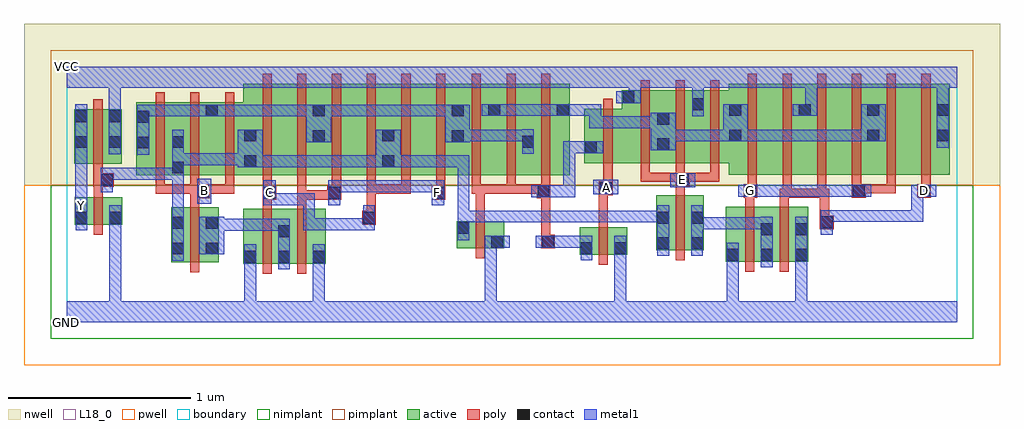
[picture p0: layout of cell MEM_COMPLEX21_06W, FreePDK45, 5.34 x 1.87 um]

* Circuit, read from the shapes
.subckt MEM_COMPLEX21_06W A B C D E F G GND VCC Y
M1 GND n1 Y VSUBS nfet w=0.15u l=0.05u
M2 n2 B n1 VSUBS nfet w=0.3u l=0.05u
M3 n2 C GND VSUBS nfet w=0.3u l=0.05u
M4 GND F n2 VSUBS nfet w=0.3u l=0.05u
M5 GND n3 n1 VSUBS nfet w=0.15u l=0.05u
M6 GND A n3 VSUBS nfet w=0.15u l=0.05u
M7 n4 E n1 VSUBS nfet w=0.3u l=0.05u
M8 n4 G GND VSUBS nfet w=0.3u l=0.05u
M9 GND D n4 VSUBS nfet w=0.3u l=0.05u
M10 VCC n1 Y n5 pfet w=0.3u l=0.05u
M11 n1 B n6 n5 pfet w=0.4u l=0.05u m=3
M12 n7 C n1 n5 pfet w=0.5u l=0.05u
M13 n6 F n7 n5 pfet w=0.5u l=0.05u
M14 n8 F n6 n5 pfet w=0.5u l=0.05u
M15 n1 C n8 n5 pfet w=0.5u l=0.05u
M16 n9 C n1 n5 pfet w=0.5u l=0.05u
M17 n6 F n9 n5 pfet w=0.5u l=0.05u
M18 n10 n3 n6 n5 pfet w=0.5u l=0.05u m=3
M19 VCC A n3 n5 pfet w=0.3u l=0.05u
M20 n10 E VCC n5 pfet w=0.4u l=0.05u m=3
M21 n11 G n10 n5 pfet w=0.5u l=0.05u
M22 VCC D n11 n5 pfet w=0.5u l=0.05u
M23 n12 D VCC n5 pfet w=0.5u l=0.05u
M24 n10 G n12 n5 pfet w=0.5u l=0.05u
M25 n13 G n10 n5 pfet w=0.5u l=0.05u
M26 VCC D n13 n5 pfet w=0.5u l=0.05u
.ends

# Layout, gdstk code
import gdstk
lib = gdstk.Library(unit=1e-6, precision=1e-09)
def R(c, l, rs):  # rectangles x0, y0, x1, y1
    for r in rs: c.add(gdstk.rectangle(r[:2], r[2:], *l))
def A(c, l, x, y, w, h, nx, ny, dx, dy):  # array of equal rectangles
    R(c, l, [(x+i*dx, y+j*dy, x+i*dx+w, y+j*dy+h) for i in range(nx) for j in range(ny)])
active = (1, 0)
pwell = (2, 0)
nwell = (3, 0)
nimplant = (4, 0)
pimplant = (5, 0)
poly = (9, 0)
contact = (10, 0)
metal1 = (11, 0)
L18_0 = (18, 0)
boundary = (235, 0)

mem_complex21_06w = lib.new_cell('MEM_COMPLEX21_06W')
A(mem_complex21_06w, active, 1.19, 0.805, 0.225, 0.5, 3, 1, 0.38, 0)
R(mem_complex21_06w, active, [(0.965,0.322,1.225,0.622), (0.965,0.322,1.04,0.497), (1.15,0.322,1.225,0.537), (1.15,0.322,1.415,0.622), (1.34,0.322,1.415,0.497), (0.57,0.33,0.645,0.63), (0.57,0.33,0.83,0.63), (0.755,0.33,0.83,0.63), (3.605,0.332,3.68,0.632), (3.605,0.332,3.867,0.632), (3.792,0.332,4.055,0.632), (3.792,0.332,3.867,0.547), (3.98,0.332,4.055,0.632), (2.805,0.37,2.88,0.52), (2.805,0.37,3.065,0.52), (2.99,0.37,3.065,0.52), (3.225,0.395,3.3,0.695), (3.225,0.395,3.485,0.695), (3.41,0.395,3.485,0.695), (2.132,0.405,2.207,0.555), (2.132,0.405,2.392,0.555), (2.317,0.405,2.392,0.555), (0.042,0.535,0.117,0.685), (0.042,0.535,0.302,0.685), (0.227,0.535,0.302,0.685), (0.38,0.805,0.645,1.205), (0.38,0.805,0.455,1.2), (0.57,0.805,0.645,1.07), (0.57,0.805,0.83,1.205), (0.755,0.805,1.04,1.205), (0.965,0.805,1.19,1.305), (0.965,0.805,1.04,1.07), (1.34,0.805,1.57,1.305), (1.72,0.805,1.95,1.305), (2.1,0.805,2.375,1.305), (2.3,0.805,2.56,1.305), (2.485,0.805,2.75,1.305), (2.675,0.805,2.75,1.2), (1.34,0.807,1.415,1.2), (1.72,0.807,1.795,1.07), (2.1,0.807,2.175,1.2), (2.3,0.807,2.375,1.2), (2.485,0.807,2.56,1.07), (3.62,0.807,3.845,1.307), (3.845,0.807,4.075,1.307), (4,0.807,4.075,1.305), (4,0.807,4.225,1.307), (4.225,0.807,4.45,1.307), (4.375,0.807,4.605,1.307), (4.375,0.807,4.45,1.2), (4.605,0.807,4.83,1.307), (4.755,0.807,4.83,1.305), (0.04,0.867,0.3,1.167), (0.04,0.867,0.115,1.165), (0.225,0.867,0.3,1.167), (2.83,0.87,3.11,1.17), (3.035,0.87,3.3,1.27), (3.225,0.87,3.49,1.27), (3.415,0.87,3.695,1.27), (0.755,0.907,0.83,1.2), (3.225,0.907,3.3,1.2), (3.415,0.907,3.49,1.27), (3.62,0.907,3.695,1.2), (2.83,0.92,2.905,1.07), (3.035,0.995,3.11,1.27)])
R(mem_complex21_06w, pwell, [(-0.235,-0.235,5.105,0.75)])
R(mem_complex21_06w, nwell, [(-0.235,0.75,5.105,1.635)])
R(mem_complex21_06w, nimplant, [(-0.09,-0.09,4.96,0.75)])
R(mem_complex21_06w, pimplant, [(-0.09,0.75,4.96,1.49)])
A(mem_complex21_06w, poly, 0.485, 0.705, 0.05, 0.095, 3, 1, 0.19, 0)
A(mem_complex21_06w, poly, 2.215, 0.705, 0.05, 0.095, 3, 1, 0.19, 0)
A(mem_complex21_06w, poly, 4.295, 0.707, 0.05, 0.095, 3, 1, 0.19, 0)
A(mem_complex21_06w, poly, 0.485, 0.75, 0.05, 0.51, 3, 1, 0.19, 0)
A(mem_complex21_06w, poly, 1.07, 0.75, 0.05, 0.61, 6, 1, 0.19, 0)
A(mem_complex21_06w, poly, 2.215, 0.75, 0.05, 0.61, 3, 1, 0.19, 0)
A(mem_complex21_06w, poly, 3.725, 0.752, 0.05, 0.61, 6, 1, 0.19, 0)
A(mem_complex21_06w, poly, 3.14, 0.77, 0.05, 0.095, 3, 1, 0.19, 0)
A(mem_complex21_06w, poly, 3.14, 0.815, 0.05, 0.51, 3, 1, 0.19, 0)
R(mem_complex21_06w, poly, [(1.07,0.267,1.12,0.677), (1.26,0.267,1.31,0.677), (0.675,0.275,0.725,0.685), (3.71,0.277,3.76,0.687), (3.9,0.277,3.95,0.687), (2.91,0.315,2.96,0.575), (3.33,0.34,3.38,0.75), (2.237,0.35,2.287,0.61), (2.595,0.405,2.67,0.48), (2.595,0.43,2.645,0.73), (0.147,0.48,0.197,0.74), (4.12,0.51,4.195,0.585), (2.91,0.525,2.96,0.747), (1.615,0.535,1.69,0.61), (4.12,0.535,4.17,0.732), (1.64,0.56,1.69,0.61), (1.64,0.56,1.69,0.61), (1.64,0.56,1.69,0.755), (2.237,0.56,2.287,0.755), (1.07,0.627,1.12,0.722), (1.26,0.627,1.31,0.722), (0.675,0.635,0.725,0.73), (3.71,0.637,3.76,0.732), (3.9,0.637,3.95,0.732), (1.07,0.672,1.145,0.747), (1.26,0.672,1.475,0.722), (1.26,0.672,1.31,0.722), (1.26,0.672,1.31,0.722), (1.26,0.672,1.31,0.722), (1.26,0.672,1.31,0.8), (1.425,0.672,1.5,0.747), (1.995,0.672,2.07,0.747), (0.675,0.68,0.782,0.755), (2.57,0.68,2.645,0.755), (2.595,0.68,2.645,0.73), (2.595,0.68,2.645,0.73), (3.702,0.682,3.777,0.757), (3.9,0.682,3.965,0.732), (3.915,0.682,3.965,0.732), (3.915,0.682,3.965,0.732), (3.915,0.682,3.965,0.802), (3.915,0.682,4.155,0.732), (4.105,0.682,4.155,0.732), (4.105,0.682,4.155,0.732), (4.105,0.682,4.155,0.802), (4.105,0.682,4.17,0.732), (4.295,0.682,4.37,0.757), (4.652,0.682,4.727,0.757), (0.147,0.69,0.197,0.792), (1.07,0.697,1.12,0.8), (1.45,0.697,1.5,0.8), (2.02,0.697,2.07,0.8), (2.91,0.697,2.985,0.772), (3.33,0.7,3.38,0.795), (0.485,0.705,0.535,0.755), (0.485,0.705,0.535,0.755), (0.485,0.705,0.535,0.755), (0.485,0.705,0.725,0.755), (0.732,0.705,0.782,0.755), (0.732,0.705,0.782,0.755), (0.732,0.705,0.915,0.755), (0.865,0.705,0.915,0.755), (1.64,0.705,1.69,0.8), (1.64,0.705,1.69,0.755), (1.64,0.705,1.69,0.755), (1.64,0.705,1.69,0.755), (1.64,0.705,1.88,0.755), (1.83,0.705,1.88,0.8), (1.83,0.705,1.88,0.755), (2.215,0.705,2.287,0.755), (2.237,0.705,2.455,0.755), (2.405,0.705,2.62,0.755), (2.405,0.705,2.455,0.755), (2.405,0.705,2.455,0.755), (2.405,0.705,2.455,0.755), (2.57,0.705,2.62,0.755), (2.57,0.705,2.62,0.755), (3.725,0.707,3.775,0.802), (4.32,0.707,4.535,0.757), (4.32,0.707,4.37,0.757), (4.32,0.707,4.37,0.757), (4.485,0.707,4.535,0.757), (2.935,0.722,2.985,0.865), (0.145,0.742,0.255,0.817), (3.33,0.745,3.407,0.82), (0.145,0.767,0.195,0.862), (3.14,0.77,3.19,0.82), (3.14,0.77,3.19,0.82), (3.14,0.77,3.19,0.82), (3.14,0.77,3.38,0.82), (3.357,0.77,3.57,0.82), (3.52,0.77,3.57,0.82), (3.52,0.77,3.57,0.82), (3.52,0.77,3.57,0.82), (0.145,0.812,0.195,1.222), (2.935,0.815,2.985,1.225)])
R(mem_complex21_06w, contact, [(0.97,0.327,1.035,0.392), (1.155,0.327,1.22,0.392), (1.345,0.327,1.41,0.392), (3.61,0.337,3.675,0.402), (3.797,0.337,3.862,0.402), (3.985,0.337,4.05,0.402), (0.575,0.372,0.64,0.437), (0.76,0.372,0.825,0.437), (2.81,0.375,2.875,0.44), (2.995,0.375,3.06,0.44), (3.23,0.4,3.295,0.465), (3.415,0.4,3.48,0.465), (2.322,0.41,2.387,0.475), (2.6,0.41,2.665,0.475), (1.155,0.467,1.22,0.532), (3.797,0.477,3.862,0.542), (3.985,0.477,4.05,0.542), (2.137,0.485,2.202,0.55), (0.575,0.512,0.64,0.577), (0.76,0.512,0.825,0.577), (4.125,0.515,4.19,0.58), (0.047,0.54,0.112,0.605), (0.232,0.54,0.297,0.605), (1.62,0.54,1.685,0.605), (3.23,0.54,3.295,0.605), (3.415,0.54,3.48,0.605), (1.075,0.677,1.14,0.742), (1.43,0.677,1.495,0.742), (2,0.677,2.065,0.742), (0.712,0.685,0.777,0.75), (2.575,0.685,2.64,0.75), (3.707,0.687,3.772,0.752), (4.3,0.687,4.365,0.752), (4.657,0.687,4.722,0.752), (2.915,0.702,2.98,0.767), (0.185,0.747,0.25,0.812), (3.337,0.75,3.402,0.815), (0.575,0.815,0.64,0.88), (0.97,0.85,1.035,0.915), (1.725,0.85,1.79,0.915), (2.835,0.925,2.9,0.99), (3.23,0.942,3.295,1.007), (0.385,0.952,0.45,1.017), (0.045,0.955,0.11,1.02), (0.23,0.955,0.295,1.02), (0.575,0.955,0.64,1.02), (2.49,0.957,2.555,1.022), (1.345,0.987,1.41,1.052), (2.105,0.987,2.17,1.052), (0.97,0.99,1.035,1.055), (1.725,0.99,1.79,1.055), (3.625,0.99,3.69,1.055), (4.38,0.99,4.445,1.055), (4.76,0.99,4.825,1.055), (3.23,1.082,3.295,1.147), (0.385,1.092,0.45,1.157), (0.045,1.095,0.11,1.16), (0.23,1.095,0.295,1.16), (0.76,1.127,0.825,1.192), (1.345,1.127,1.41,1.192), (2.105,1.127,2.17,1.192), (2.305,1.13,2.37,1.195), (2.68,1.13,2.745,1.195), (3.625,1.13,3.69,1.195), (4.005,1.13,4.07,1.195), (4.38,1.13,4.445,1.195), (4.76,1.13,4.825,1.195), (3.42,1.162,3.485,1.227), (3.04,1.2,3.105,1.265)])
R(mem_complex21_06w, metal1, [(0,0,4.87,0.115), (0.232,0.05,0.297,0.115), (0.232,0.05,0.297,0.115), (0.232,0.05,0.297,0.115), (0.232,0.05,0.297,0.115), (0.232,0.05,0.297,0.115), (0.232,0.05,0.297,0.115), (0.232,0.05,0.297,0.57), (0.97,0.05,1.035,0.115), (0.97,0.05,1.035,0.115), (0.97,0.05,1.035,0.357), (1.345,0.05,1.41,0.115), (1.345,0.05,1.41,0.115), (1.345,0.05,1.41,0.115), (1.345,0.05,1.41,0.115), (1.345,0.05,1.41,0.357), (2.287,0.05,2.352,0.115), (2.287,0.05,2.352,0.115), (2.287,0.05,2.352,0.115), (2.287,0.05,2.352,0.115), (2.287,0.05,2.352,0.115), (2.287,0.05,2.352,0.115), (2.287,0.05,2.352,0.475), (2.995,0.05,3.06,0.115), (2.995,0.05,3.06,0.115), (2.995,0.05,3.06,0.115), (2.995,0.05,3.06,0.115), (2.995,0.05,3.06,0.115), (2.995,0.05,3.06,0.115), (2.995,0.05,3.06,0.405), (3.61,0.05,3.675,0.115), (3.61,0.05,3.675,0.115), (3.61,0.05,3.675,0.115), (3.61,0.05,3.675,0.115), (3.61,0.05,3.675,0.367), (3.985,0.05,4.05,0.115), (3.985,0.05,4.05,0.115), (3.985,0.05,4.05,0.367), (0.97,0.292,1.035,0.357), (0.97,0.292,1.035,0.357), (0.97,0.292,1.035,0.427), (1.155,0.292,1.22,0.567), (1.345,0.292,1.41,0.427), (3.61,0.302,3.675,0.437), (3.797,0.302,3.862,0.577), (3.985,0.302,4.05,0.577), (3.985,0.302,4.05,0.367), (3.985,0.302,4.05,0.367), (0.575,0.337,0.64,0.612), (2.81,0.34,2.875,0.475), (2.995,0.34,3.06,0.475), (3.23,0.365,3.295,0.64), (3.415,0.365,3.48,0.64), (0.725,0.372,0.86,0.577), (2.287,0.41,2.422,0.475), (2.565,0.41,2.7,0.475), (2.635,0.41,2.71,0.475), (2.645,0.41,2.71,0.475), (2.645,0.41,2.875,0.475), (2.137,0.45,2.202,0.612), (4.125,0.48,4.19,0.615), (0.795,0.502,0.927,0.567), (0.862,0.502,0.927,0.567), (0.862,0.502,1.082,0.567), (1.017,0.502,1.082,0.567), (1.017,0.502,1.082,0.567), (1.017,0.502,1.082,0.567), (1.017,0.502,1.22,0.567), (0.047,0.505,0.112,0.64), (0.232,0.505,0.297,0.64), (1.292,0.505,1.357,0.57), (1.292,0.505,1.357,0.707), (1.292,0.505,1.445,0.57), (1.38,0.505,1.445,0.57), (1.38,0.505,1.582,0.57), (1.517,0.505,1.582,0.57), (1.517,0.505,1.582,0.57), (1.517,0.505,1.582,0.57), (1.517,0.505,1.685,0.57), (1.62,0.505,1.685,0.64), (3.415,0.51,3.48,0.575), (3.415,0.51,3.48,0.575), (3.415,0.51,3.655,0.575), (3.59,0.51,3.655,0.575), (3.59,0.51,3.862,0.575), (3.797,0.51,3.862,0.575), (3.797,0.51,3.862,0.575), (0.575,0.547,0.64,0.845), (2.137,0.547,2.272,0.612), (2.137,0.547,2.202,0.915), (2.207,0.547,2.272,0.612), (2.207,0.547,2.41,0.612), (2.345,0.547,2.41,0.612), (2.345,0.547,2.41,0.612), (2.345,0.547,2.41,0.612), (2.345,0.547,2.572,0.612), (2.507,0.547,2.572,0.612), (2.507,0.547,2.727,0.612), (2.662,0.547,2.727,0.612), (2.662,0.547,2.727,0.612), (2.662,0.547,2.727,0.612), (2.662,0.547,2.917,0.612), (2.852,0.547,2.917,0.612), (2.852,0.547,2.917,0.612), (2.852,0.547,2.917,0.612), (2.852,0.547,3.122,0.612), (3.057,0.547,3.122,0.612), (3.057,0.547,3.122,0.612), (3.057,0.547,3.122,0.612), (3.057,0.547,3.295,0.612), (4.125,0.55,4.19,0.615), (4.125,0.55,4.19,0.615), (4.125,0.55,4.19,0.615), (4.125,0.55,4.19,0.615), (4.125,0.55,4.41,0.615), (4.345,0.55,4.41,0.615), (4.345,0.55,4.547,0.615), (4.482,0.55,4.547,0.615), (4.482,0.55,4.547,0.615), (4.482,0.55,4.547,0.615), (4.482,0.55,4.685,0.615), (4.62,0.55,4.685,0.615), (4.62,0.55,4.685,0.752), (0.045,0.572,0.112,0.707), (0.047,0.575,0.112,0.64), (0.045,0.642,0.11,0.985), (1.075,0.642,1.142,0.777), (1.077,0.642,1.22,0.707), (1.155,0.642,1.22,0.707), (1.155,0.642,1.28,0.707), (1.215,0.642,1.28,0.707), (1.215,0.642,1.357,0.707), (1.292,0.642,1.357,0.707), (1.43,0.642,1.495,0.777), (1.997,0.642,2.065,0.777), (0.712,0.65,0.79,0.787), (2.54,0.685,2.675,0.75), (2.61,0.685,2.78,0.75), (2.715,0.685,2.78,0.75), (2.715,0.685,2.78,0.99), (3.672,0.687,3.807,0.752), (3.742,0.687,3.862,0.752), (3.797,0.687,3.862,0.752), (3.797,0.687,4.052,0.752), (3.987,0.687,4.052,0.752), (3.987,0.687,4.052,0.752), (3.987,0.687,4.052,0.752), (3.987,0.687,4.19,0.752), (4.125,0.687,4.19,0.752), (4.125,0.687,4.19,0.752), (4.125,0.687,4.19,0.752), (4.125,0.687,4.33,0.752), (4.265,0.687,4.4,0.752), (4.62,0.687,4.687,0.752), (4.622,0.687,4.687,0.752), (4.622,0.687,4.757,0.752), (2.88,0.702,3.017,0.78), (0.185,0.712,0.25,0.847), (1.43,0.712,1.617,0.777), (1.552,0.712,1.617,0.777), (1.552,0.712,1.687,0.777), (1.622,0.712,1.687,0.777), (1.622,0.712,1.825,0.777), (1.76,0.712,1.825,0.777), (1.76,0.712,1.825,0.777), (1.76,0.712,1.825,0.777), (1.76,0.712,1.997,0.777), (1.932,0.712,1.997,0.777), (1.932,0.712,2.062,0.777), (3.302,0.74,3.437,0.817), (0.185,0.78,0.25,0.845), (0.185,0.78,0.25,0.845), (0.185,0.78,0.502,0.845), (0.437,0.78,0.502,0.845), (0.437,0.78,0.502,0.845), (0.437,0.78,0.502,0.845), (0.437,0.78,0.64,0.845), (0.575,0.78,0.64,1.055), (0.575,0.78,0.64,0.845), (0.575,0.78,0.64,0.845), (0.935,0.85,1.07,1.055), (1.005,0.85,1.07,0.915), (1.005,0.85,1.07,0.915), (1.005,0.85,1.22,0.915), (1.155,0.85,1.22,0.915), (1.155,0.85,1.307,0.915), (1.242,0.85,1.307,0.915), (1.242,0.85,1.445,0.915), (1.38,0.85,1.445,0.915), (1.38,0.85,1.445,0.915), (1.38,0.85,1.445,0.915), (1.38,0.85,1.617,0.915), (1.552,0.85,1.617,0.915), (1.552,0.85,1.687,0.915), (1.622,0.85,1.687,0.915), (1.622,0.85,1.755,0.915), (1.69,0.85,1.825,1.055), (1.76,0.85,1.825,0.915), (1.76,0.85,1.825,0.915), (1.76,0.85,1.997,0.915), (1.932,0.85,1.997,0.915), (1.932,0.85,1.997,0.915), (1.932,0.85,1.997,0.915), (1.932,0.85,2.202,0.915), (2.137,0.85,2.202,0.915), (2.137,0.85,2.202,0.915), (2.137,0.85,2.202,0.915), (0.575,0.86,0.777,0.925), (0.712,0.86,0.777,0.925), (0.712,0.86,0.777,0.925), (0.712,0.86,0.777,0.925), (0.712,0.86,0.927,0.925), (0.862,0.86,0.927,0.925), (0.862,0.86,1,0.925), (0.385,0.917,0.45,1.192), (0.045,0.92,0.11,1.195), (0.23,0.92,0.295,1.195), (2.49,0.922,2.555,1.057), (2.715,0.925,2.78,0.99), (2.715,0.925,2.865,0.99), (2.8,0.925,2.935,0.99), (3.195,0.942,3.33,1.147), (4.76,0.955,4.825,1.23), (1.31,0.987,1.445,1.192), (2.07,0.987,2.205,1.192), (2.14,0.99,2.272,1.055), (2.207,0.99,2.272,1.055), (2.207,0.99,2.41,1.055), (2.345,0.99,2.41,1.055), (2.345,0.99,2.41,1.055), (2.345,0.99,2.41,1.055), (2.345,0.99,2.41,1.055), (2.345,0.99,2.41,1.055), (2.345,0.99,2.555,1.055), (3.265,0.99,3.33,1.055), (3.265,0.99,3.33,1.055), (3.265,0.99,3.517,1.055), (3.452,0.99,3.517,1.055), (3.452,0.99,3.517,1.055), (3.452,0.99,3.517,1.055), (3.452,0.99,3.655,1.055), (3.59,0.99,3.725,1.195), (3.66,0.99,3.897,1.055), (3.832,0.99,3.897,1.055), (3.832,0.99,3.897,1.055), (3.832,0.99,3.897,1.055), (3.832,0.99,4.052,1.055), (3.987,0.99,4.052,1.055), (3.987,0.99,4.052,1.055), (3.987,0.99,4.052,1.055), (3.987,0.99,4.19,1.055), (4.125,0.99,4.19,1.055), (4.125,0.99,4.19,1.055), (4.125,0.99,4.19,1.055), (4.125,0.99,4.41,1.055), (4.345,0.99,4.41,1.055), (4.345,0.99,4.41,1.055), (4.345,0.99,4.48,1.195), (2.857,1.062,2.922,1.127), (2.857,1.062,2.922,1.127), (2.857,1.062,3.122,1.127), (2.857,1.062,2.922,1.195), (3.057,1.062,3.122,1.127), (3.057,1.062,3.122,1.127), (3.057,1.062,3.122,1.127), (3.057,1.062,3.122,1.127), (3.057,1.062,3.122,1.127), (3.057,1.062,3.26,1.127), (0.385,1.127,0.64,1.192), (0.575,1.127,0.64,1.192), (0.575,1.127,0.64,1.192), (0.575,1.127,0.64,1.192), (0.575,1.127,0.79,1.192), (0.725,1.127,0.79,1.192), (0.725,1.127,0.79,1.192), (0.725,1.127,0.86,1.192), (0.795,1.127,0.927,1.192), (0.862,1.127,0.927,1.192), (0.862,1.127,1.07,1.192), (1.005,1.127,1.07,1.192), (1.005,1.127,1.07,1.192), (1.005,1.127,1.07,1.192), (1.005,1.127,1.22,1.192), (1.155,1.127,1.22,1.192), (1.155,1.127,1.28,1.192), (1.215,1.127,1.28,1.192), (1.215,1.127,1.375,1.192), (1.38,1.127,1.445,1.192), (1.38,1.127,1.445,1.192), (1.38,1.127,1.617,1.192), (1.552,1.127,1.617,1.192), (1.552,1.127,1.687,1.192), (1.622,1.127,1.687,1.192), (1.622,1.127,1.825,1.192), (1.76,1.127,1.825,1.192), (1.76,1.127,1.825,1.192), (1.76,1.127,1.825,1.192), (1.76,1.127,1.997,1.192), (1.932,1.127,1.997,1.192), (1.932,1.127,2.135,1.192), (2.07,1.127,2.135,1.192), (2.07,1.127,2.135,1.192), (3.42,1.127,3.485,1.262), (0.23,1.13,0.295,1.35), (2.27,1.13,2.405,1.195), (2.34,1.13,2.41,1.195), (2.345,1.13,2.41,1.195), (2.345,1.13,2.572,1.195), (2.507,1.13,2.572,1.195), (2.507,1.13,2.572,1.195), (2.507,1.13,2.572,1.195), (2.507,1.13,2.71,1.195), (2.645,1.13,2.78,1.195), (2.715,1.13,2.78,1.195), (2.715,1.13,2.78,1.195), (2.715,1.13,2.922,1.195), (3.97,1.13,4.105,1.195), (4.04,1.13,4.105,1.35), (4.76,1.165,4.825,1.35), (3.42,1.197,3.485,1.35), (3.005,1.2,3.14,1.265), (3.075,1.2,3.14,1.35), (0,1.285,4.87,1.4), (0.23,1.285,0.295,1.35), (0.23,1.285,0.295,1.35)])
R(mem_complex21_06w, L18_0, [(0,0,4.87,0.115), (0.232,0.05,0.297,0.115), (0.232,0.05,0.297,0.115), (0.232,0.05,0.297,0.115), (0.232,0.05,0.297,0.115), (0.232,0.05,0.297,0.115), (0.232,0.05,0.297,0.115), (0.232,0.05,0.297,0.57), (0.97,0.05,1.035,0.115), (0.97,0.05,1.035,0.115), (0.97,0.05,1.035,0.357), (1.345,0.05,1.41,0.115), (1.345,0.05,1.41,0.115), (1.345,0.05,1.41,0.115), (1.345,0.05,1.41,0.115), (1.345,0.05,1.41,0.357), (2.287,0.05,2.352,0.115), (2.287,0.05,2.352,0.115), (2.287,0.05,2.352,0.115), (2.287,0.05,2.352,0.115), (2.287,0.05,2.352,0.115), (2.287,0.05,2.352,0.115), (2.287,0.05,2.352,0.475), (2.995,0.05,3.06,0.115), (2.995,0.05,3.06,0.115), (2.995,0.05,3.06,0.115), (2.995,0.05,3.06,0.115), (2.995,0.05,3.06,0.115), (2.995,0.05,3.06,0.115), (2.995,0.05,3.06,0.405), (3.61,0.05,3.675,0.115), (3.61,0.05,3.675,0.115), (3.61,0.05,3.675,0.115), (3.61,0.05,3.675,0.115), (3.61,0.05,3.675,0.367), (3.985,0.05,4.05,0.115), (3.985,0.05,4.05,0.115), (3.985,0.05,4.05,0.367), (0.97,0.292,1.035,0.427), (0.97,0.292,1.035,0.357), (0.97,0.292,1.035,0.357), (1.345,0.292,1.41,0.427), (3.61,0.302,3.675,0.437), (3.985,0.302,4.05,0.367), (3.985,0.302,4.05,0.367), (3.985,0.302,4.05,0.577), (2.995,0.34,3.06,0.475), (2.287,0.41,2.422,0.475), (4.125,0.48,4.19,0.615), (0.047,0.505,0.112,0.64), (0.232,0.505,0.297,0.64), (1.292,0.505,1.357,0.57), (1.292,0.505,1.357,0.707), (1.292,0.505,1.445,0.57), (1.38,0.505,1.445,0.57), (1.38,0.505,1.582,0.57), (1.517,0.505,1.582,0.57), (1.517,0.505,1.582,0.57), (1.517,0.505,1.582,0.57), (1.517,0.505,1.685,0.57), (1.62,0.505,1.685,0.64), (4.125,0.55,4.19,0.615), (4.125,0.55,4.19,0.615), (4.125,0.55,4.19,0.615), (4.125,0.55,4.19,0.615), (4.125,0.55,4.41,0.615), (4.345,0.55,4.41,0.615), (4.345,0.55,4.547,0.615), (4.482,0.55,4.547,0.615), (4.482,0.55,4.547,0.615), (4.482,0.55,4.547,0.615), (4.482,0.55,4.685,0.615), (4.62,0.55,4.685,0.615), (4.62,0.55,4.685,0.752), (0.045,0.572,0.112,0.707), (0.047,0.575,0.112,0.64), (0.047,0.607,0.112,0.672), (0.045,0.642,0.11,0.985), (1.075,0.642,1.142,0.777), (1.077,0.642,1.22,0.707), (1.155,0.642,1.22,0.707), (1.155,0.642,1.28,0.707), (1.215,0.642,1.28,0.707), (1.215,0.642,1.357,0.707), (1.292,0.642,1.357,0.707), (1.43,0.642,1.495,0.777), (1.997,0.642,2.065,0.777), (0.712,0.65,0.79,0.787), (1.077,0.677,1.142,0.742), (1.997,0.677,2.062,0.742), (0.717,0.687,0.782,0.752), (3.672,0.687,3.807,0.752), (3.707,0.687,3.772,0.752), (3.742,0.687,3.862,0.752), (3.797,0.687,3.862,0.752), (3.797,0.687,4.052,0.752), (3.987,0.687,4.052,0.752), (3.987,0.687,4.052,0.752), (3.987,0.687,4.052,0.752), (3.987,0.687,4.19,0.752), (4.125,0.687,4.19,0.752), (4.125,0.687,4.19,0.752), (4.125,0.687,4.19,0.752), (4.125,0.687,4.33,0.752), (4.265,0.687,4.4,0.752), (4.62,0.687,4.687,0.752), (4.622,0.687,4.687,0.752), (4.622,0.687,4.757,0.752), (4.657,0.687,4.722,0.752), (2.88,0.702,3.017,0.78), (2.917,0.707,2.982,0.772), (1.43,0.712,1.617,0.777), (1.552,0.712,1.617,0.777), (1.552,0.712,1.687,0.777), (1.622,0.712,1.687,0.777), (1.622,0.712,1.825,0.777), (1.76,0.712,1.825,0.777), (1.76,0.712,1.825,0.777), (1.76,0.712,1.825,0.777), (1.76,0.712,1.997,0.777), (1.932,0.712,1.997,0.777), (1.932,0.712,2.062,0.777), (3.302,0.74,3.437,0.817), (3.337,0.747,3.402,0.812), (0.045,0.92,0.11,1.195), (0.23,0.92,0.295,1.195), (4.76,0.955,4.825,1.23), (3.42,1.127,3.485,1.262), (0.23,1.13,0.295,1.35), (3.97,1.13,4.105,1.195), (4.04,1.13,4.105,1.35), (4.76,1.165,4.825,1.35), (3.42,1.197,3.485,1.35), (3.005,1.2,3.14,1.265), (3.075,1.2,3.14,1.35), (0,1.285,4.87,1.4), (0.23,1.285,0.295,1.35), (0.23,1.285,0.295,1.35)])
R(mem_complex21_06w, boundary, [(0,0,4.87,1.4)])
mem_complex21_06w.add(gdstk.Label('A', (2.95,0.74), layer=11, texttype=0))
mem_complex21_06w.add(gdstk.Label('B', (0.75,0.72), layer=11, texttype=0))
mem_complex21_06w.add(gdstk.Label('C', (1.11,0.71), layer=11, texttype=0))
mem_complex21_06w.add(gdstk.Label('D', (4.69,0.72), layer=11, texttype=0))
mem_complex21_06w.add(gdstk.Label('E', (3.37,0.78), layer=11, texttype=0))
mem_complex21_06w.add(gdstk.Label('F', (2.03,0.71), layer=11, texttype=0))
mem_complex21_06w.add(gdstk.Label('G', (3.74,0.72), layer=11, texttype=0))
mem_complex21_06w.add(gdstk.Label('Y', (0.08,0.64), layer=11, texttype=0))
mem_complex21_06w.add(gdstk.Label('VCC', (0,1.4), layer=11, texttype=0))
mem_complex21_06w.add(gdstk.Label('GND', (0,0), layer=11, texttype=0))

lib.write_gds('MEM_COMPLEX21_06W.gds')
